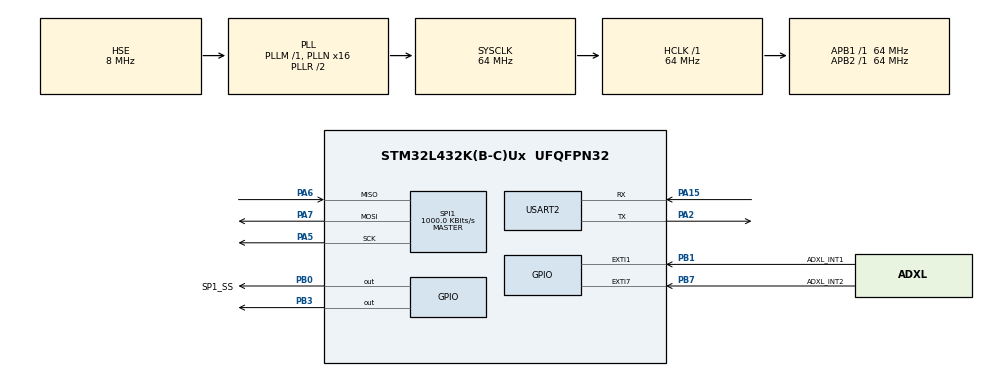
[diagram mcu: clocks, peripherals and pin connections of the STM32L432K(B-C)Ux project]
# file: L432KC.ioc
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Mcu.Family=STM32L4
Mcu.Name=STM32L432K(B-C)Ux
Mcu.Package=UFQFPN32
NVIC.EXTI1_IRQn=true\:0\:0\:false\:false\:true\:true\:true
NVIC.EXTI9_5_IRQn=true\:0\:0\:false\:false\:true\:true\:true
NVIC.PriorityGroup=NVIC_PRIORITYGROUP_4
PA0.Mode=HSE-External-Clock-Source-for-LittleOrca
PA0.Signal=RCC_CK_IN
PA13\ (JTMS-SWDIO).Mode=Serial_Wire
PA13\ (JTMS-SWDIO).Signal=SYS_JTMS-SWDIO
PA14\ (JTCK-SWCLK).Mode=Serial_Wire
PA14\ (JTCK-SWCLK).Signal=SYS_JTCK-SWCLK
PA15\ (JTDI).GPIO_ModeDefaultPP=GPIO_MODE_AF_PP
PA15\ (JTDI).GPIO_PuPd=GPIO_NOPULL
PA15\ (JTDI).GPIO_Speed=GPIO_SPEED_FREQ_VERY_HIGH
PA15\ (JTDI).Mode=Asynchronous
PA15\ (JTDI).Signal=USART2_RX
PA2.GPIO_ModeDefaultPP=GPIO_MODE_AF_PP
PA2.GPIO_PuPd=GPIO_NOPULL
PA2.GPIO_Speed=GPIO_SPEED_FREQ_VERY_HIGH
PA2.Mode=Asynchronous
PA2.Signal=USART2_TX
PA5.GPIO_Mode=GPIO_MODE_AF_PP
PA5.GPIO_PuPd=GPIO_NOPULL
PA5.GPIO_Speed=GPIO_SPEED_FREQ_VERY_HIGH
PA5.Mode=Full_Duplex_Master
PA5.Signal=SPI1_SCK
PA6.Mode=Full_Duplex_Master
PA6.Signal=SPI1_MISO
PA7.Mode=Full_Duplex_Master
PA7.Signal=SPI1_MOSI
PB0.GPIO_Label=SP1_SS
PB0.GPIO_Speed=GPIO_SPEED_FREQ_VERY_HIGH
PB0.PinState=GPIO_PIN_SET
PB0.Signal=GPIO_Output
PB1.GPIO_Label=ADXL_INT1
PB1.GPIO_PuPd=GPIO_PULLDOWN
PB1.Signal=GPXTI1
PB3\ (JTDO-TRACESWO).GPIO_ModeDefaultOutputPP=GPIO_MODE_OUTPUT_PP
PB3\ (JTDO-TRACESWO).GPIO_PuPd=GPIO_NOPULL
PB3\ (JTDO-TRACESWO).GPIO_Speed=GPIO_SPEED_FREQ_LOW
PB3\ (JTDO-TRACESWO).PinState=GPIO_PIN_RESET
PB3\ (JTDO-TRACESWO).Signal=GPIO_Output
PB7.GPIO_Label=ADXL_INT2
PB7.GPIO_PuPd=GPIO_PULLDOWN
PB7.Signal=GPXTI7
PC14-OSC32_IN\ (PC14).Mode=LSE-External-Oscillator
PC14-OSC32_IN\ (PC14).Signal=RCC_OSC32_IN
PC15-OSC32_OUT\ (PC15).Mode=LSE-External-Oscillator
PC15-OSC32_OUT\ (PC15).Signal=RCC_OSC32_OUT
ProjectManager.HeapSize=0x200
ProjectManager.StackSize=0x400
ProjectManager.TargetToolchain=SW4STM32
RCC.ADCFreq_Value=32000000
RCC.AHBFreq_Value=64000000
RCC.APB1Freq_Value=64000000
RCC.APB1TimFreq_Value=64000000
RCC.APB2Freq_Value=64000000
RCC.APB2TimFreq_Value=64000000
RCC.CortexFreq_Value=64000000
RCC.HCLKFreq_Value=64000000
RCC.HSE_VALUE=8000000
RCC.HSI16_VALUE=16000000
RCC.HSI48_VALUE=48000000
RCC.HSI_VALUE=16000000
RCC.MSI_VALUE=4000000
RCC.PLLMUL=RCC_PLLMUL_4
RCC.PLLN=16
RCC.PLLSourceVirtual=RCC_PLLSOURCE_HSE
RCC.SYSCLKFreq_VALUE=64000000
RCC.SYSCLKSource=RCC_SYSCLKSOURCE_PLLCLK
RCC.USBFreq_Value=32000000
RCC.VCOOutputFreq_Value=128000000
SPI1.BaudRatePrescaler=SPI_BAUDRATEPRESCALER_64
SPI1.CalculateBaudRate=1000.0 KBits/s
SPI1.DataSize=SPI_DATASIZE_8BIT
SPI1.Direction=SPI_DIRECTION_2LINES
SPI1.Mode=SPI_MODE_MASTER
SPI1.VirtualType=VM_MASTER
USART2.VirtualMode-Asynchronous=VM_ASYNC
board=NUCLEO-L432KC

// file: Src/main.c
/* USER CODE BEGIN Header */
/**
  ******************************************************************************
  * @file           : main.c
  * @brief          : Main program body
  ******************************************************************************
  * @attention
  *
  * <h2><center>&copy; Copyright (c) 2019 STMicroelectronics.
  * All rights reserved.</center></h2>
  *
  * This software component is licensed by ST under BSD 3-Clause license,
  * the "License"; You may not use this file except in compliance with the
  * License. You may obtain a copy of the License at:
  *                        opensource.org/licenses/BSD-3-Clause
  *
  ******************************************************************************
  */
/* USER CODE END Header */

#include "main.h"

/* USER CODE BEGIN Includes */
#include "stdio.h"
#include "stdlib.h"
/* USER CODE END Includes */

/* USER CODE BEGIN PD */
// ADXL362 Registers
#define DEVID_AD 		0x00
#define DEVID_MST		0x01
#define PARTID			0x02
#define REVID			0x03
#define XDATA		 	0x08
#define YDATA 			0x09
#define ZDATA 			0x0A
#define STATUS 			0x0B
#define XDATA_L 		0x0E
#define XDATA_H 		0x0F
#define YDATA_L 		0x10
#define YDATA_H 		0x11
#define ZDATA_L 		0x12
#define ZDATA_H 		0x13
#define TEMP_L 			0x14
#define TEMP_H 			0x15
#define RESET 			0x1F
#define THRESH_ACT_L 	0x20
#define THRESH_ACT_H 	0x21
#define TIME_ACT 		0x22
#define THRESH_INACT_L 	0x23
#define THRESH_INACT_H 	0x24
#define TIME_INACT_L 	0x25
#define TIME_INACT_H 	0x26
#define ACT_INACT_CTL	0x27
#define FIFO_CONTROL	0x28
#define FIFO_SAMPLES	0x29
#define INTMAP1 		0x2A
#define INTMAP2 		0x2B
#define FILTER_CTL 		0x2C
#define POWER_CTL 		0x2D
#define SELF_TEST		0x2E

#define WR_ADXL 		0x0A
#define RD_ADXL 		0x0B
#define FIFO_ADXL		0x0D
/* USER CODE END PD */

SPI_HandleTypeDef hspi1;

UART_HandleTypeDef huart2;

/* USER CODE BEGIN PV */
uint8_t x8 = 0, y8 = 0, z8 = 0;
int16_t x12 = 0, y12 = 0, z12 = 0;
uint32_t drFlag;
uint8_t data_sent[6];
uint8_t data_rec[1];
uint8_t reg;
int16_t x,y,z;
float xg, yg, zg;
/* USER CODE END PV */

void SystemClock_Config(void);
static void MX_GPIO_Init(void);
static void MX_SPI1_Init(void);
static void MX_USART2_UART_Init(void);
/* USER CODE BEGIN PFP */
uint8_t ADXL362_ReadReg(uint8_t address);
void ADXL362_WriteReg(uint8_t address, uint8_t cmd);
void ADXL362_Init(void);
void ADXL362_GetXYZ8(uint8_t *x, uint8_t *y, uint8_t *z);
void ADXL362_GetXYZ12(int16_t *x, int16_t *y, int16_t *z);
void drFlagSet(void);
static void EXTI_Init(void);
/* USER CODE END PFP */

int main(void)
{

  /* MCU Configuration--------------------------------------------------------*/

  /* Reset of all peripherals, Initializes the Flash interface and the Systick. */
  HAL_Init();

  /* Configure the system clock */
  SystemClock_Config();

  /* Initialize all configured peripherals */
  MX_GPIO_Init();
  MX_SPI1_Init();
  MX_USART2_UART_Init();
  /* USER CODE BEGIN 2 */
  EXTI_Init();		// Initialize External Interrupts
  ADXL362_Init();	// Initialize ADXL362
  /* USER CODE END 2 */

  /* Infinite loop */
  while (1)
  {

    /* USER CODE BEGIN 3 */
	/*
	  if(drFlag == 8)
	  {
		  ADXL362_GetXYZ8(&x8, &y8, &z8);
		  printf("x = %+04d, y = %+04d, z = %+04d\n", x8,y8,z8);
		  drFlag = 0;
	  }
	  else if(drFlag == 12)
	  {
		  ADXL362_GetXYZ12(&x12, &y12, &z12);
		  printf ("x = %+05d, y = %+05d, z = %+05d\n", x12, y12, z12);
		  //pc.printf("x = %04X, y = %04X, z = %04X\n", x12, y12, z12);
		  drFlag = 0;
	  }
	*/
	/*
	  ADXL362_WriteReg(DEVID_AD, 0xAD);
	  reg = ADXL362_ReadReg(DEVID_AD);
	  x = ((data_rec[1]<<8)|data_rec[0]);
	  y = ((data_rec[3]<<8)|data_rec[2]);
	  z = ((data_rec[5]<<8)|data_rec[4]);
	*/
	  drFlag = 8;
	  ADXL362_GetXYZ8(&x8, &y8, &z8);
	  //printf("x = %+04d, y = %+04d, z = %+04d\n", x8,y8,z8);
	  drFlag = 0;
  }
  /* USER CODE END 3 */
}

void SystemClock_Config(void)
{
  RCC_OscInitTypeDef RCC_OscInitStruct = {0};
  RCC_ClkInitTypeDef RCC_ClkInitStruct = {0};
  RCC_PeriphCLKInitTypeDef PeriphClkInit = {0};

  /** Initializes the CPU, AHB and APB busses clocks
  */
  RCC_OscInitStruct.OscillatorType = RCC_OSCILLATORTYPE_HSE;
  RCC_OscInitStruct.HSEState = RCC_HSE_BYPASS;
  RCC_OscInitStruct.PLL.PLLState = RCC_PLL_ON;
  RCC_OscInitStruct.PLL.PLLSource = RCC_PLLSOURCE_HSE;
  RCC_OscInitStruct.PLL.PLLM = 1;
  RCC_OscInitStruct.PLL.PLLN = 16;
  RCC_OscInitStruct.PLL.PLLP = RCC_PLLP_DIV7;
  RCC_OscInitStruct.PLL.PLLQ = RCC_PLLQ_DIV2;
  RCC_OscInitStruct.PLL.PLLR = RCC_PLLR_DIV2;
  if (HAL_RCC_OscConfig(&RCC_OscInitStruct) != HAL_OK)
  {
    Error_Handler();
  }
  /** Initializes the CPU, AHB and APB busses clocks
  */
  RCC_ClkInitStruct.ClockType = RCC_CLOCKTYPE_HCLK|RCC_CLOCKTYPE_SYSCLK
                              |RCC_CLOCKTYPE_PCLK1|RCC_CLOCKTYPE_PCLK2;
  RCC_ClkInitStruct.SYSCLKSource = RCC_SYSCLKSOURCE_PLLCLK;
  RCC_ClkInitStruct.AHBCLKDivider = RCC_SYSCLK_DIV1;
  RCC_ClkInitStruct.APB1CLKDivider = RCC_HCLK_DIV1;
  RCC_ClkInitStruct.APB2CLKDivider = RCC_HCLK_DIV1;

  if (HAL_RCC_ClockConfig(&RCC_ClkInitStruct, FLASH_LATENCY_3) != HAL_OK)
  {
    Error_Handler();
  }
  PeriphClkInit.PeriphClockSelection = RCC_PERIPHCLK_USART2;
  PeriphClkInit.Usart2ClockSelection = RCC_USART2CLKSOURCE_PCLK1;
  if (HAL_RCCEx_PeriphCLKConfig(&PeriphClkInit) != HAL_OK)
  {
    Error_Handler();
  }
  /** Configure the main internal regulator output voltage
  */
  if (HAL_PWREx_ControlVoltageScaling(PWR_REGULATOR_VOLTAGE_SCALE1) != HAL_OK)
  {
    Error_Handler();
  }
}

static void MX_SPI1_Init(void)
{

  /* SPI1 parameter configuration*/
  hspi1.Instance = SPI1;
  hspi1.Init.Mode = SPI_MODE_MASTER;
  hspi1.Init.Direction = SPI_DIRECTION_2LINES;
  hspi1.Init.DataSize = SPI_DATASIZE_8BIT;
  hspi1.Init.CLKPolarity = SPI_POLARITY_LOW;
  hspi1.Init.CLKPhase = SPI_PHASE_1EDGE;
  hspi1.Init.NSS = SPI_NSS_SOFT;
  hspi1.Init.BaudRatePrescaler = SPI_BAUDRATEPRESCALER_64;
  hspi1.Init.FirstBit = SPI_FIRSTBIT_MSB;
  hspi1.Init.TIMode = SPI_TIMODE_DISABLE;
  hspi1.Init.CRCCalculation = SPI_CRCCALCULATION_DISABLE;
  hspi1.Init.CRCPolynomial = 7;
  hspi1.Init.CRCLength = SPI_CRC_LENGTH_DATASIZE;
  hspi1.Init.NSSPMode = SPI_NSS_PULSE_ENABLE;
  if (HAL_SPI_Init(&hspi1) != HAL_OK)
  {
    Error_Handler();
  }
  /* USER CODE BEGIN SPI1_Init 2 */
  GPIO_InitTypeDef GPIO_InitStruct = {0};

  GPIO_InitStruct.Pin = GPIO_PIN_5 | GPIO_PIN_6 | GPIO_PIN_7;
  GPIO_InitStruct.Mode = GPIO_MODE_AF_PP;
  GPIO_InitStruct.Pull = GPIO_NOPULL;
  GPIO_InitStruct.Speed = GPIO_SPEED_HIGH;
  GPIO_InitStruct.Alternate = GPIO_AF5_SPI1;

  HAL_GPIO_Init(GPIOA, &GPIO_InitStruct);
  /* USER CODE END SPI1_Init 2 */

}

static void MX_USART2_UART_Init(void)
{

  huart2.Instance = USART2;
  huart2.Init.BaudRate = 115200;
  huart2.Init.WordLength = UART_WORDLENGTH_8B;
  huart2.Init.StopBits = UART_STOPBITS_1;
  huart2.Init.Parity = UART_PARITY_NONE;
  huart2.Init.Mode = UART_MODE_TX_RX;
  huart2.Init.HwFlowCtl = UART_HWCONTROL_NONE;
  huart2.Init.OverSampling = UART_OVERSAMPLING_16;
  huart2.Init.OneBitSampling = UART_ONE_BIT_SAMPLE_DISABLE;
  huart2.AdvancedInit.AdvFeatureInit = UART_ADVFEATURE_NO_INIT;
  if (HAL_UART_Init(&huart2) != HAL_OK)
  {
    Error_Handler();
  }

}

static void MX_GPIO_Init(void)
{
  GPIO_InitTypeDef GPIO_InitStruct = {0};

  /* GPIO Ports Clock Enable */
  __HAL_RCC_GPIOC_CLK_ENABLE();
  __HAL_RCC_GPIOA_CLK_ENABLE();
  __HAL_RCC_GPIOB_CLK_ENABLE();

  /*Configure GPIO pin Output Level */
  HAL_GPIO_WritePin(SP1_SS_GPIO_Port, SP1_SS_Pin, GPIO_PIN_SET);

  /*Configure GPIO pin Output Level */
  HAL_GPIO_WritePin(GPIOB, GPIO_PIN_3, GPIO_PIN_RESET);

  /*Configure GPIO pin : SP1_SS_Pin */
  GPIO_InitStruct.Pin = SP1_SS_Pin;
  GPIO_InitStruct.Mode = GPIO_MODE_OUTPUT_PP;
  GPIO_InitStruct.Pull = GPIO_NOPULL;
  GPIO_InitStruct.Speed = GPIO_SPEED_FREQ_VERY_HIGH;
  HAL_GPIO_Init(SP1_SS_GPIO_Port, &GPIO_InitStruct);

  /*Configure GPIO pins : ADXL_INT1_Pin ADXL_INT2_Pin */
  GPIO_InitStruct.Pin = ADXL_INT1_Pin|ADXL_INT2_Pin;
  GPIO_InitStruct.Mode = GPIO_MODE_IT_RISING;
  GPIO_InitStruct.Pull = GPIO_PULLDOWN;
  HAL_GPIO_Init(GPIOB, &GPIO_InitStruct);

  /*Configure GPIO pin : PB3 */
  GPIO_InitStruct.Pin = GPIO_PIN_3;
  GPIO_InitStruct.Mode = GPIO_MODE_OUTPUT_PP;
  GPIO_InitStruct.Pull = GPIO_NOPULL;
  GPIO_InitStruct.Speed = GPIO_SPEED_FREQ_LOW;
  HAL_GPIO_Init(GPIOB, &GPIO_InitStruct);

  /* EXTI interrupt init*/
  HAL_NVIC_SetPriority(EXTI1_IRQn, 0, 0);
  HAL_NVIC_EnableIRQ(EXTI1_IRQn);

  HAL_NVIC_SetPriority(EXTI9_5_IRQn, 0, 0);
  HAL_NVIC_EnableIRQ(EXTI9_5_IRQn);

}

/* USER CODE BEGIN 4 */
/**
  * @brief ADXL362 Read Register Function
  * @param address Address of register to read
  * @retval Value of register
  */
uint8_t ADXL362_ReadReg (uint8_t address)
{
	uint8_t val;
	uint8_t ReadAddr[2];

	ReadAddr[1] = address;		// Address
	ReadAddr[0] = RD_ADXL;		// Read instruction

	HAL_GPIO_WritePin(GPIOB, SP1_SS_Pin, GPIO_PIN_RESET);	// Pull CS pin low to enable the slave
	HAL_SPI_Transmit(&hspi1, ReadAddr, 2, 100); 			// Transmit the read instruction and register address
	HAL_SPI_Receive(&hspi1, &val, 1, 100);					// Receive register value
	HAL_GPIO_WritePin(GPIOB, SP1_SS_Pin, GPIO_PIN_SET);		// Pull CS pin high to disable the slave
	HAL_Delay(10);
	return val;
}

/**
  * @brief ADXL362 Write Register Function
  * @param address Address of register to write
  * @param cmd Command byte to write to register
  * @retval None
  */
void ADXL362_WriteReg (uint8_t address, uint8_t cmd)
{
	uint8_t WriteAddr[3];

	WriteAddr[2] = cmd;			// Command
	WriteAddr[1] = address;		// Address
	WriteAddr[0] = WR_ADXL;		// Write instruction

	HAL_GPIO_WritePin(SP1_SS_GPIO_Port, SP1_SS_Pin, GPIO_PIN_RESET);	// Pull CS pin low to enable the slave
	HAL_SPI_Transmit(&hspi1, WriteAddr, 3, 100); 						// Transmit the write instruction, address, and command
	HAL_GPIO_WritePin(SP1_SS_GPIO_Port, SP1_SS_Pin, GPIO_PIN_SET);		// Pull CS pin high to disable the slave
}

/**
  * @brief ADXL362 Initialization Function
  * @param None
  * @retval None
  */
void ADXL362_Init(void)
{
	uint8_t reg;	// Hold register value

	// Configure ADXL_Int1
	drFlag = 0;		// Reset data ready flag

	// Disable ADXL External Interrupts
	HAL_NVIC_DisableIRQ(ADXL_INT1_EXTI_IRQn);
	HAL_NVIC_DisableIRQ(ADXL_INT2_EXTI_IRQn);

	// Reset ADXL362 by writing 0x52(R in ASCII) to the Soft Reset Register
	HAL_Delay(100);
	ADXL362_WriteReg(RESET, 0x52);
	HAL_Delay(500);

	// Read ADXL362 registers
	//printf("\n");
	reg = ADXL362_ReadReg(DEVID_AD); 	// Read ID Register
	//printf("ID0 = 0b%X\n", reg);

	// Configure ADXL362 Filter Control Register
	reg = ADXL362_ReadReg(FILTER_CTL);   	// Read Filter Control Register
	//printf("FILTER_CTL = 0x%X\n", reg);
	// ADXL362_WriteReg(FILTER_CTL,0x51);	// Set ADXL362 to 4g range, 25Hz
	ADXL362_WriteReg(FILTER_CTL,0x11);		// Set ADXL362 to 2g range, 25Hz
	reg = ADXL362_ReadReg(FILTER_CTL);
	//printf("FILTER_CTL = 0x%X\n", reg);

	// Configure ADXL362 interrupts
	ADXL362_WriteReg(INTMAP1,0x01);		// Map Data ready Interrupt to INT1 pin
	reg = ADXL362_ReadReg(INTMAP1);
	//printf("INTMAP1 = 0x%X\n", reg);

	// Configure ADXL362 Power Control Register
	ADXL362_WriteReg(POWER_CTL,0x22);	// Set to measurement mode, ultralow noise
	reg = ADXL362_ReadReg(POWER_CTL);
	//printf("POWER_CTL = 0x%X\n", reg);

	// Begin continuous processing of ADXL362 data
	HAL_NVIC_EnableIRQ(ADXL_INT1_EXTI_IRQn);
	HAL_NVIC_EnableIRQ(ADXL_INT2_EXTI_IRQn);

}

/**
  * @brief ADXL362 Get XYZ 8bits Function
  * @param address Address of register to write
  * @param x Points to X-axis data buffer
  * @param y Points to Y-axis data buffer
  * @param z Points to Z-axis data buffer
  * @retval None
  */
void ADXL362_GetXYZ8(uint8_t *x, uint8_t *y, uint8_t *z)
{
	/*
	uint8_t xyzVal[3];
	uint8_t ReadAddr[2];

	ReadAddr[1] = XDATA;		// Address
	ReadAddr[0] = RD_ADXL;		// Read instruction

	HAL_GPIO_WritePin(SP1_SS_GPIO_Port, SP1_SS_Pin, GPIO_PIN_RESET);	// Pull CS pin low to enable the slave
	HAL_SPI_Transmit(&hspi1, ReadAddr, 2, 100); 						// Transmit the write instruction and address
	HAL_SPI_Receive(&hspi1, xyzVal, 3, 100);							// Receive x register value
	HAL_GPIO_WritePin(SP1_SS_GPIO_Port, SP1_SS_Pin, GPIO_PIN_SET);		// Pull CS pin high to disable the slave

	*x = xyzVal[0];
	*y = xyzVal[1];
	*z = xyzVal[2];
	*/
	*x = ADXL362_ReadReg(XDATA);
	*y = ADXL362_ReadReg(YDATA);
	*z = ADXL362_ReadReg(ZDATA);

}

/**
  * @brief ADXL362 Get XYZ 12bits Function
  * @param x Points to X-axis data buffer
  * @param y Points to Y-axis data buffer
  * @param z Points to Z-axis data buffer
  * @retval None
  */
void ADXL362_GetXYZ12(int16_t *x, int16_t *y, int16_t *z)
{
    uint8_t xyzVal[6] = {0, 0, 0, 0, 0, 0};
    uint8_t ReadAddr[2];

	ReadAddr[1] = XDATA;		// Address
	ReadAddr[0] = RD_ADXL;		// Read instruction

	HAL_GPIO_WritePin(SP1_SS_GPIO_Port, SP1_SS_Pin, GPIO_PIN_RESET);	// Pull CS pin low to enable the slave
	HAL_SPI_Transmit(&hspi1, ReadAddr, 2, 100); 						// Transmit the read instruction and address
	HAL_SPI_Receive(&hspi1, xyzVal, 6, 100);				// Transmit a blank byte and receive register value;
	HAL_GPIO_WritePin(SP1_SS_GPIO_Port, SP1_SS_Pin, GPIO_PIN_SET);		// Pull CS pin high to disable the slave

	*x = (xyzVal[1] << 8) + xyzVal[0];
	*y = (xyzVal[3] << 8) + xyzVal[2];
	*z = (xyzVal[5] << 8) + xyzVal[4];
}

/**
  * @brief External Interrupts Initialization Function
  * @param None
  * @retval None
  */
static void EXTI_Init(void)
{
	EXTI_ConfigTypeDef EXTI_ConfigStruct;
	EXTI_HandleTypeDef EXTI_HandleStruct;

	HAL_EXTI_GetHandle(&EXTI_HandleStruct, EXTI_LINE_1);
	HAL_EXTI_GetConfigLine(&EXTI_HandleStruct, &EXTI_ConfigStruct);
	HAL_EXTI_ClearConfigLine(&EXTI_HandleStruct);

	EXTI_ConfigStruct.Line = EXTI_LINE_1;
	EXTI_ConfigStruct.Mode = EXTI_MODE_INTERRUPT;
	EXTI_ConfigStruct.Trigger = EXTI_TRIGGER_RISING;
	EXTI_ConfigStruct.GPIOSel = EXTI_GPIOB;
	HAL_EXTI_RegisterCallback(&EXTI_HandleStruct, HAL_EXTI_COMMON_CB_ID, &drFlagSet);

	HAL_EXTI_SetConfigLine(&EXTI_HandleStruct, &EXTI_ConfigStruct);

	HAL_EXTI_GetHandle(&EXTI_HandleStruct, EXTI_LINE_7);
	HAL_EXTI_GetConfigLine(&EXTI_HandleStruct, &EXTI_ConfigStruct);
	HAL_EXTI_ClearConfigLine(&EXTI_HandleStruct);

	EXTI_ConfigStruct.Line = EXTI_LINE_7;
	EXTI_ConfigStruct.Mode = EXTI_MODE_INTERRUPT;
	EXTI_ConfigStruct.Trigger = EXTI_TRIGGER_RISING;
	EXTI_ConfigStruct.GPIOSel = EXTI_GPIOB;
	HAL_EXTI_RegisterCallback(&EXTI_HandleStruct, HAL_EXTI_COMMON_CB_ID, &drFlagSet);

	HAL_EXTI_SetConfigLine(&EXTI_HandleStruct, &EXTI_ConfigStruct);
}

/**
  * @brief Data Ready Flag Set Function
  * @param None
  * @retval None
  */
void drFlagSet(void) {
	// Set drFlag when ADXL_Int1 is set
	drFlag = 8;
	//drFlag = 12;
}
/* USER CODE END 4 */

void Error_Handler(void)
{
}

/************************ (C) COPYRIGHT STMicroelectronics *****END OF FILE****/
